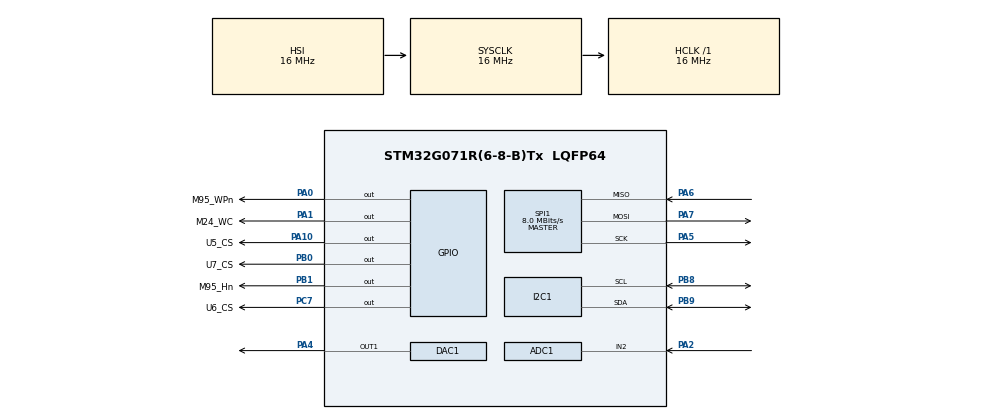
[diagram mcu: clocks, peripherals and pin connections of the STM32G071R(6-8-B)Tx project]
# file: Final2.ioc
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ADC1.Channel-0\#ChannelRegularConversion=ADC_CHANNEL_2
ADC1.NbrOfConversionFlag=1
ADC1.Rank-0\#ChannelRegularConversion=1
ADC1.SamplingTime-0\#ChannelRegularConversion=ADC_SAMPLINGTIME_COMMON_1
ADC1.SamplingTimeCommon1=ADC_SAMPLETIME_3CYCLES_5
ADC1.SamplingTimeCommon2=ADC_SAMPLETIME_3CYCLES_5
ADC1.SelectedChannel=ADC_CHANNEL_2
ADC1.master=1
DAC1.DAC_Channel-DAC_OUT1=DAC_CHANNEL_1
I2C1.Timing=0x00503D58
Mcu.Family=STM32G0
Mcu.Name=STM32G071R(6-8-B)Tx
Mcu.Package=LQFP64
NVIC.TIM3_IRQn=true\:0\:0\:false\:false\:true\:true\:true\:true
PA0.GPIO_Label=M95_WPn
PA0.Signal=GPIO_Output
PA1.GPIO_Label=M24_WC
PA1.Signal=GPIO_Output
PA10.GPIO_Label=U5_CS
PA10.Signal=GPIO_Output
PA13.Mode=Serial_Wire
PA13.Signal=SYS_SWDIO
PA14-BOOT0.Mode=Serial_Wire
PA14-BOOT0.Signal=SYS_SWCLK
PA2.Mode=IN2
PA2.Signal=ADC1_IN2
PA4.Signal=COMP_DAC11_group
PA5.Mode=Full_Duplex_Master
PA5.Signal=SPI1_SCK
PA6.Mode=Full_Duplex_Master
PA6.Signal=SPI1_MISO
PA7.Mode=Full_Duplex_Master
PA7.Signal=SPI1_MOSI
PB0.GPIO_Label=U7_CS
PB0.Signal=GPIO_Output
PB1.GPIO_Label=M95_Hn
PB1.Signal=GPIO_Output
PB8.Mode=I2C
PB8.Signal=I2C1_SCL
PB9.Mode=I2C
PB9.Signal=I2C1_SDA
PC7.GPIO_Label=U6_CS
PC7.Signal=GPIO_Output
ProjectManager.HeapSize=0x200
ProjectManager.StackSize=0x400
ProjectManager.TargetToolchain=STM32CubeIDE
RCC.AHBFreq_Value=16000000
RCC.CortexFreq_Value=16000000
RCC.EXTERNAL_CLOCK_VALUE=48000
RCC.HCLKFreq_Value=16000000
RCC.HSE_VALUE=8000000
RCC.HSI_VALUE=16000000
RCC.LSE_VALUE=32768
RCC.SYSCLKFreq_VALUE=16000000
RCC.VCOOutputFreq_Value=128000000
SH.COMP_DAC11_group.0=DAC1_OUT1,DAC_OUT1
SPI1.CalculateBaudRate=8.0 MBits/s
SPI1.DataSize=SPI_DATASIZE_8BIT
SPI1.Direction=SPI_DIRECTION_2LINES
SPI1.Mode=SPI_MODE_MASTER
SPI1.VirtualType=VM_MASTER
TIM3.Period=6451
TIM3.Prescaler=15
VP_TIM3_VS_ClockSourceINT.Mode=Internal
board=custom

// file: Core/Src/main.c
/* USER CODE BEGIN Header */
/**
  ******************************************************************************
  * @file           : main.c
  * @brief          : Main program body
  ******************************************************************************
  * @attention
  *
  * Copyright (c) 2024 STMicroelectronics.
  * All rights reserved.
  *
  * This software is licensed under terms that can be found in the LICENSE file
  * in the root directory of this software component.
  * If no LICENSE file comes with this software, it is provided AS-IS.
  *
  ******************************************************************************
  */
/* USER CODE END Header */
#include "main.h"
#include "adc.h"
#include "dac.h"
#include "i2c.h"
#include "spi.h"
#include "tim.h"
#include "gpio.h"
#include "memoryAcc.h"
#include "M95.h"

/* USER CODE BEGIN PD */
#define NUMBER_OF_SAMPLES 8
#define NUMBER_OF_INPUTS 1
#define NUMBER_OF_CONVERSIONS (NUMBER_OF_SAMPLES*NUMBER_OF_INPUTS)

/* USER CODE END PD */

/* USER CODE BEGIN PV */

uint16_t ADCBuffer[NUMBER_OF_CONVERSIONS];
uint16_t ADCBufferIndex = 0;

	uint8_t ReadValue =0;
	uint8_t TxData[] = { 'A', 'B', 'C', 'D', 'E', 'F' };
	uint32_t startAddresses[] = {
	        M95C04_START, M95256_START, M95M04_START,
	        M24C02_START, M24256_START, M24M01_START
	    };
	    uint32_t endAddresses[] = {
	        M95C04_END, M95256_END, M95M04_END,
	        M24C02_END, M24256_END, M24M01_END
	    };
	    uint8_t SPIDevices[] = { M95040, M95256, M95M04 };
	    uint8_t StatusRegisterValue;

/* USER CODE END PV */

void SystemClock_Config(void);

int main(void)
{

  /* MCU Configuration--------------------------------------------------------*/

  /* Reset of all peripherals, Initializes the Flash interface and the Systick. */
  HAL_Init();

  /* Configure the system clock */
  SystemClock_Config();

  /* Initialize all configured peripherals */
  MX_GPIO_Init();
  MX_SPI1_Init();
  MX_I2C1_Init();
  MX_ADC1_Init();
  MX_DAC1_Init();
  MX_TIM3_Init();
  /* USER CODE BEGIN 2 */
  DisableChipSelectM95(M95040);
   DisableChipSelectM95(M95256);
   DisableChipSelectM95(M95M04);

   // Disable write protect and hold
   DisableWriteProtectM95();
   DisableHoldM95();

   // Turn off block protection for all SPI devices

   for (int i = 0; i < 3; i++) {
       StatusRegisterValue = ReadStatusRegisterM95(SPIDevices[i]);
       StatusRegisterValue = StatusRegisterValue & ~(0x0C); // Clear BP1, BP0 bits
       WriteStatusRegisterM95(SPIDevices[i], StatusRegisterValue);
       HAL_Delay(1); // Ensure the write operation is completed
   }

  /* USER CODE END 2 */

  /* Infinite loop */
  while (1)
  {

  }
}

void SystemClock_Config(void)
{
  RCC_OscInitTypeDef RCC_OscInitStruct = {0};
  RCC_ClkInitTypeDef RCC_ClkInitStruct = {0};

  /** Configure the main internal regulator output voltage
  */
  HAL_PWREx_ControlVoltageScaling(PWR_REGULATOR_VOLTAGE_SCALE1);

  /** Initializes the RCC Oscillators according to the specified parameters
  * in the RCC_OscInitTypeDef structure.
  */
  RCC_OscInitStruct.OscillatorType = RCC_OSCILLATORTYPE_HSI;
  RCC_OscInitStruct.HSIState = RCC_HSI_ON;
  RCC_OscInitStruct.HSIDiv = RCC_HSI_DIV1;
  RCC_OscInitStruct.HSICalibrationValue = RCC_HSICALIBRATION_DEFAULT;
  RCC_OscInitStruct.PLL.PLLState = RCC_PLL_NONE;
  if (HAL_RCC_OscConfig(&RCC_OscInitStruct) != HAL_OK)
  {
    Error_Handler();
  }

  /** Initializes the CPU, AHB and APB buses clocks
  */
  RCC_ClkInitStruct.ClockType = RCC_CLOCKTYPE_HCLK|RCC_CLOCKTYPE_SYSCLK
                              |RCC_CLOCKTYPE_PCLK1;
  RCC_ClkInitStruct.SYSCLKSource = RCC_SYSCLKSOURCE_HSI;
  RCC_ClkInitStruct.AHBCLKDivider = RCC_SYSCLK_DIV1;
  RCC_ClkInitStruct.APB1CLKDivider = RCC_HCLK_DIV1;

  if (HAL_RCC_ClockConfig(&RCC_ClkInitStruct, FLASH_LATENCY_0) != HAL_OK)
  {
    Error_Handler();
  }
}

/* USER CODE BEGIN 4 */

void HAL_TIM_PeriodElapsedCallback(TIM_HandleTypeDef *htim) {
    static uint32_t memoryAddress = 0;  // 메모리 주소 초기화
    uint16_t adcValue;

    if (htim->Instance == TIM3) {  // TIM3이 타이머로 사용된 경우
        if (ADCBufferIndex < NUMBER_OF_CONVERSIONS) {
            // 1. ADC 샘플링
            HAL_ADC_Start(&hadc1);
            HAL_ADC_PollForConversion(&hadc1, HAL_MAX_DELAY);
            adcValue = HAL_ADC_GetValue(&hadc1);
            HAL_ADC_Stop(&hadc1);

            // 2. ADC 값 저장
            ADCBuffer[ADCBufferIndex] = adcValue;
            ADCBufferIndex++;

            // 3. DAC 출력
            HAL_DAC_SetValue(&hdac1, DAC_CHANNEL_1, DAC_ALIGN_12B_R, adcValue);

            // 4. 메모리 저장
            WriteByte(memoryAddress, (uint8_t)(adcValue & 0xFF)); // 하위 8비트 저장
            memoryAddress++;
        } else {
            // 변환 완료 후 추가 처리 (필요 시)
            ADCBufferIndex = 0;  // 인덱스 초기화
        }
    }
}

/* USER CODE END 4 */

void Error_Handler(void)
{
  __disable_irq();
  while (1)
  {
  }
}
